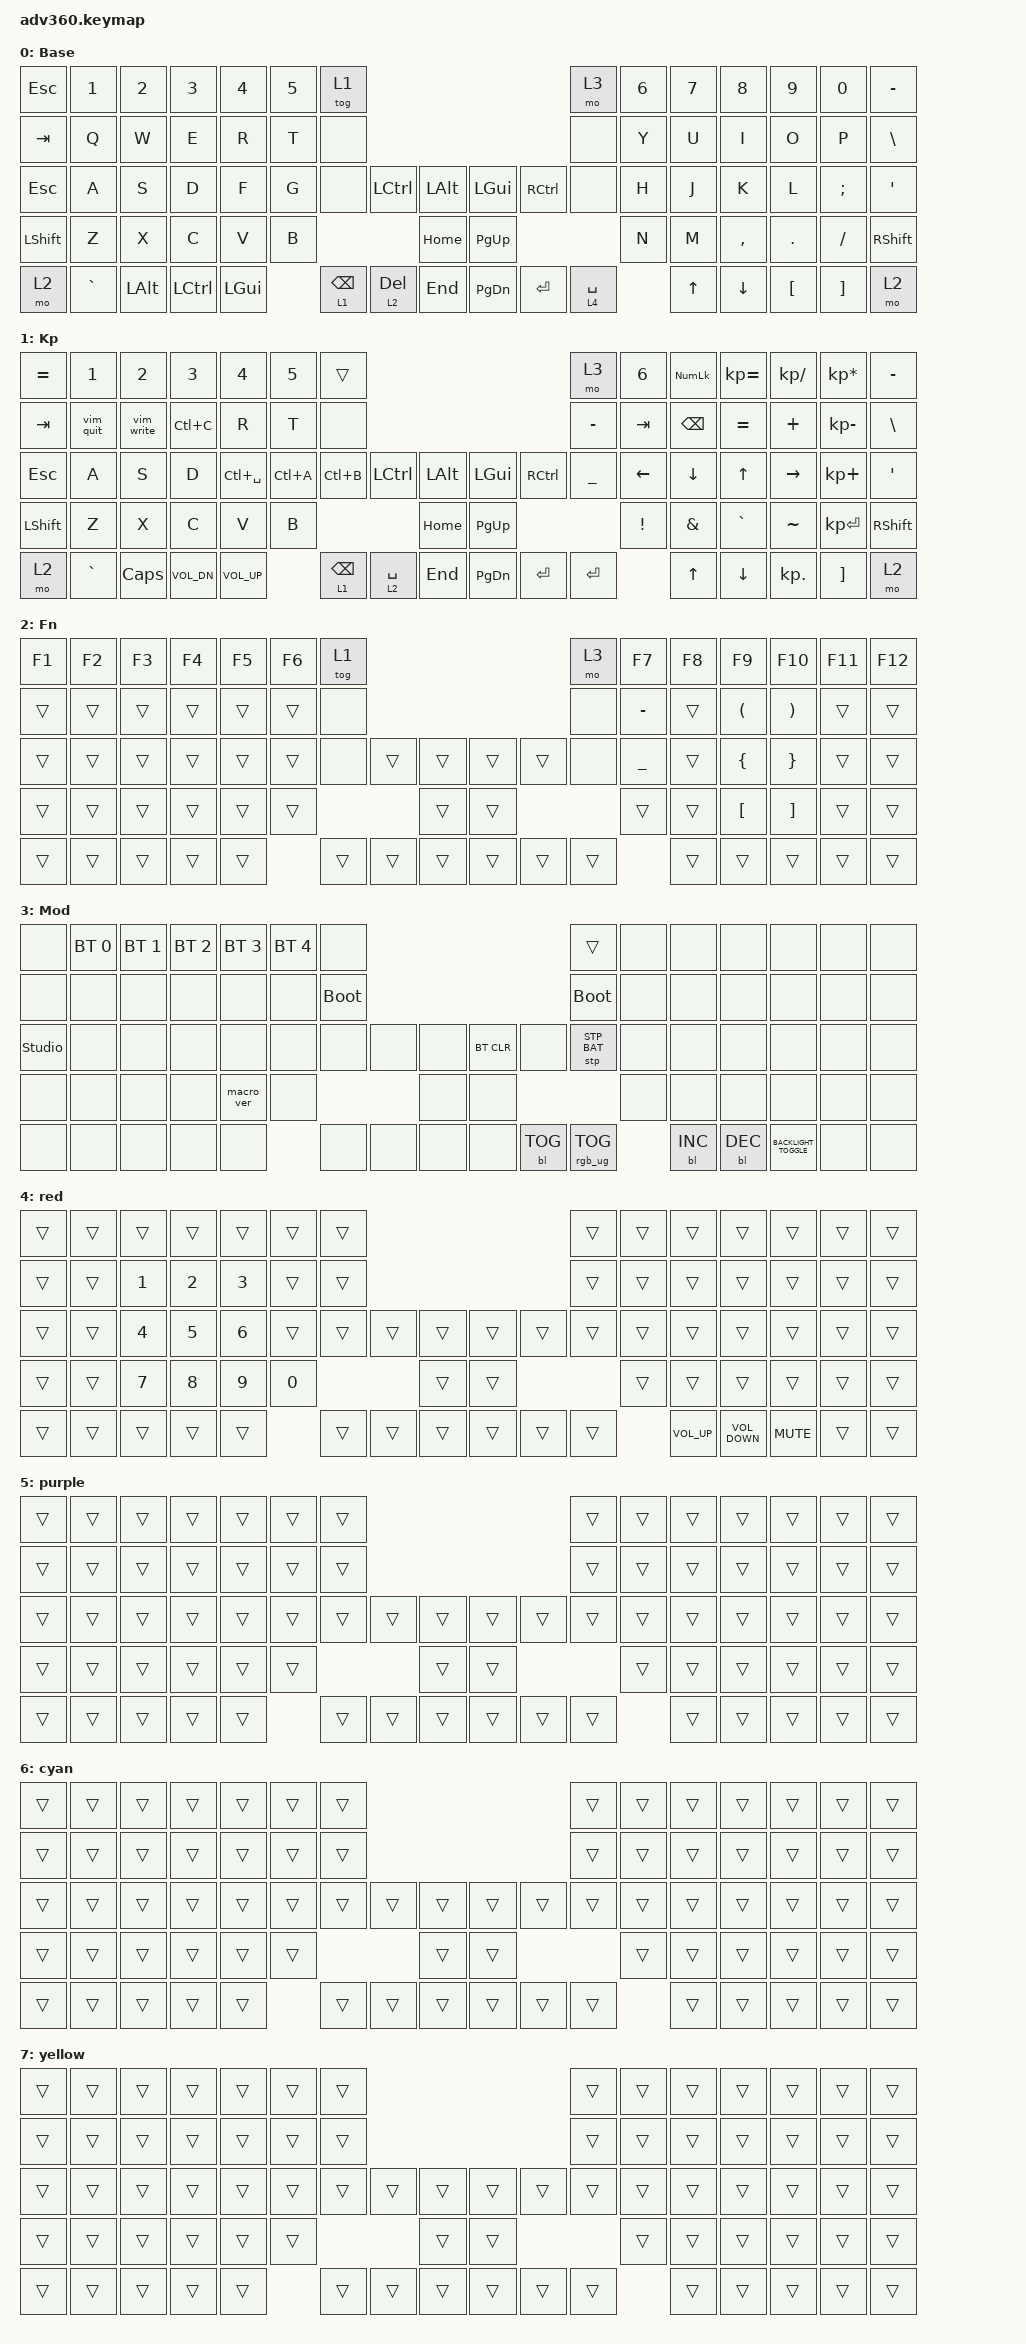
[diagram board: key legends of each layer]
#include <dt-bindings/zmk/stp.h>
#include <behaviors.dtsi>
#include <dt-bindings/zmk/backlight.h>
#include <dt-bindings/zmk/bt.h>
#include <dt-bindings/zmk/keys.h>
#include <dt-bindings/zmk/rgb.h>

/ {
    behaviors {
        #include "macros.dtsi"
      #include "version.dtsi"

        hm: homerow_mods {
            compatible = "zmk,behavior-hold-tap";
            label = "HOMEROW_MODS";
            #binding-cells = <2>;
            tapping-term-ms = <200>;
            quick_tap_ms = <175>;
            flavor = "tap-preferred";
            bindings = <&kp>, <&kp>;
        };
    };

    macros {
        vim_quit: vim_quit {
            compatible = "zmk,behavior-macro";
            #binding-cells = <0>;
            bindings = <&kp COLON &kp Q>;
            label = "VIM_QUIT";
        };

        vim_write: vim_write {
            compatible = "zmk,behavior-macro";
            #binding-cells = <0>;
            bindings = <&kp COLON &kp W>;
            label = "VIM_WRITE";
        };
    };

    keymap {
        compatible = "zmk,keymap";

        default_layer {
            display-name = "Base";
            bindings = <
&kp ESCAPE  &kp N1     &kp N2        &kp N3     &kp N4        &kp N5  &tog 1                                                             &mo 3        &kp N6  &kp N7  &kp N8     &kp N9    &kp N0    &kp MINUS
&kp TAB     &kp Q      &kp W         &kp E      &kp R         &kp T   &none                                                              &none        &kp Y   &kp U   &kp I      &kp O     &kp P     &kp BSLH
&kp ESC     &kp A      &kp S         &kp D      &kp F         &kp G   &none            &kp LCTRL     &kp LALT      &kp LGUI   &kp RCTRL  &none        &kp H   &kp J   &kp K      &kp L     &kp SEMI  &kp SQT
&kp LSHFT   &kp Z      &kp X         &kp C      &kp V         &kp B                                  &kp HOME      &kp PG_UP                          &kp N   &kp M   &kp COMMA  &kp DOT   &kp FSLH  &kp RSHFT
&mo 2       &kp GRAVE  &kp LEFT_ALT  &kp LCTRL  &kp LEFT_GUI          &lt 1 BACKSPACE  &lt 2 DELETE  &kp END       &kp PG_DN  &kp ENTER  &lt 4 SPACE          &kp UP  &kp DOWN   &kp LBKT  &kp RBKT  &mo 2
            >;
        };

        keypad {
            display-name = "Kp";
            bindings = <
&kp EQUAL  &kp N1     &kp N2      &kp N3        &kp N4           &kp N5     &trans                                                            &mo 3      &kp N6          &kp KP_NUM      &kp KP_EQUAL  &kp KP_DIVIDE  &kp KP_MULTIPLY  &kp MINUS
&kp TAB    &vim_quit  &vim_write  &kp LC(C)     &kp R            &kp T      &none                                                             &kp MINUS  &kp TAB         &kp BACKSPACE   &kp EQUAL     &kp PLUS       &kp KP_MINUS     &kp BSLH
&kp ESC    &kp A      &kp S       &kp D         &kp LC(SPACE)    &kp LC(A)  &kp LC(B)        &kp LCTRL    &kp LALT      &kp LGUI   &kp RCTRL  &kp UNDER  &kp LEFT_ARROW  &kp DOWN_ARROW  &kp UP_ARROW  &kp RIGHT      &kp KP_PLUS      &kp SQT
&kp LSHFT  &kp Z      &kp X       &kp C         &kp V            &kp B                                    &kp HOME      &kp PG_UP                        &kp EXCL        &kp AMPS        &kp GRAVE     &kp TILDE      &kp KP_ENTER     &kp RSHFT
&mo 2      &kp GRAVE  &kp CAPS    &kp C_VOL_DN  &kp C_VOLUME_UP             &lt 1 BACKSPACE  &lt 2 SPACE  &kp END       &kp PG_DN  &kp ENTER  &kp RET                    &kp UP          &kp DOWN      &kp KP_DOT     &kp RBKT         &mo 2
            >;
        };

        fn {
            display-name = "Fn";
            bindings = <
&kp F1  &kp F2  &kp F3  &kp F4  &kp F5  &kp F6  &tog 1                                      &mo 3   &kp F7     &kp F8  &kp F9                &kp F10                &kp F11  &kp F12
&trans  &trans  &trans  &trans  &trans  &trans  &none                                       &none   &kp MINUS  &trans  &kp LEFT_PARENTHESIS  &kp RIGHT_PARENTHESIS  &trans   &trans
&trans  &trans  &trans  &trans  &trans  &trans  &none   &trans  &trans      &trans  &trans  &none   &kp UNDER  &trans  &kp LEFT_BRACE        &kp RIGHT_BRACE        &trans   &trans
&trans  &trans  &trans  &trans  &trans  &trans                  &trans      &trans                  &trans     &trans  &kp LEFT_BRACKET      &kp RIGHT_BRACKET      &trans   &trans
&trans  &trans  &trans  &trans  &trans          &trans  &trans  &trans      &trans  &trans  &trans             &trans  &trans                &trans                 &trans   &trans
            >;
        };

        mod {
            display-name = "Mod";
            bindings = <
&none           &bt BT_SEL 0  &bt BT_SEL 1  &bt BT_SEL 2  &bt BT_SEL 3  &bt BT_SEL 4  &none                                                  &trans           &none  &none       &none       &none                   &none  &none
&none           &none         &none         &none         &none         &none         &bootloader                                            &bootloader      &none  &none       &none       &none                   &none  &none
&studio_unlock  &none         &none         &none         &none         &none         &none        &none  &none      &bt BT_CLR  &none       &stp STP_BAT     &none  &none       &none       &none                   &none  &none
&none           &none         &none         &none         &macro_ver    &none                             &none      &none                                    &none  &none       &none       &none                   &none  &none
&none           &none         &none         &none         &none                       &none        &none  &none      &none       &bl BL_TOG  &rgb_ug RGB_TOG         &bl BL_INC  &bl BL_DEC  &kp C_BACKLIGHT_TOGGLE  &none  &none
            >;
        };

        red {
            bindings = <
&trans  &trans  &trans        &trans        &trans        &trans  &trans                                      &trans  &trans  &trans           &trans             &trans      &trans  &trans
&trans  &trans  &kp NUMBER_1  &kp NUMBER_2  &kp NUMBER_3  &trans  &trans                                      &trans  &trans  &trans           &trans             &trans      &trans  &trans
&trans  &trans  &kp NUMBER_4  &kp N5        &kp NUMBER_6  &trans  &trans  &trans  &trans      &trans  &trans  &trans  &trans  &trans           &trans             &trans      &trans  &trans
&trans  &trans  &kp N7        &kp N8        &kp N9        &kp N0                  &trans      &trans                  &trans  &trans           &trans             &trans      &trans  &trans
&trans  &trans  &trans        &trans        &trans                &trans  &trans  &trans      &trans  &trans  &trans          &kp C_VOLUME_UP  &kp C_VOLUME_DOWN  &kp C_MUTE  &trans  &trans
            >;
        };

        purple {
            bindings = <
&trans  &trans  &trans  &trans  &trans  &trans  &trans                                      &trans  &trans  &trans  &trans  &trans  &trans  &trans
&trans  &trans  &trans  &trans  &trans  &trans  &trans                                      &trans  &trans  &trans  &trans  &trans  &trans  &trans
&trans  &trans  &trans  &trans  &trans  &trans  &trans  &trans  &trans      &trans  &trans  &trans  &trans  &trans  &trans  &trans  &trans  &trans
&trans  &trans  &trans  &trans  &trans  &trans                  &trans      &trans                  &trans  &trans  &trans  &trans  &trans  &trans
&trans  &trans  &trans  &trans  &trans          &trans  &trans  &trans      &trans  &trans  &trans          &trans  &trans  &trans  &trans  &trans
            >;
        };

        cyan {
            bindings = <
&trans  &trans  &trans  &trans  &trans  &trans  &trans                                      &trans  &trans  &trans  &trans  &trans  &trans  &trans
&trans  &trans  &trans  &trans  &trans  &trans  &trans                                      &trans  &trans  &trans  &trans  &trans  &trans  &trans
&trans  &trans  &trans  &trans  &trans  &trans  &trans  &trans  &trans      &trans  &trans  &trans  &trans  &trans  &trans  &trans  &trans  &trans
&trans  &trans  &trans  &trans  &trans  &trans                  &trans      &trans                  &trans  &trans  &trans  &trans  &trans  &trans
&trans  &trans  &trans  &trans  &trans          &trans  &trans  &trans      &trans  &trans  &trans          &trans  &trans  &trans  &trans  &trans
            >;
        };

        yellow {
            bindings = <
&trans  &trans  &trans  &trans  &trans  &trans  &trans                                      &trans  &trans  &trans  &trans  &trans  &trans  &trans
&trans  &trans  &trans  &trans  &trans  &trans  &trans                                      &trans  &trans  &trans  &trans  &trans  &trans  &trans
&trans  &trans  &trans  &trans  &trans  &trans  &trans  &trans  &trans      &trans  &trans  &trans  &trans  &trans  &trans  &trans  &trans  &trans
&trans  &trans  &trans  &trans  &trans  &trans                  &trans      &trans                  &trans  &trans  &trans  &trans  &trans  &trans
&trans  &trans  &trans  &trans  &trans          &trans  &trans  &trans      &trans  &trans  &trans          &trans  &trans  &trans  &trans  &trans
            >;
        };
    };
};
